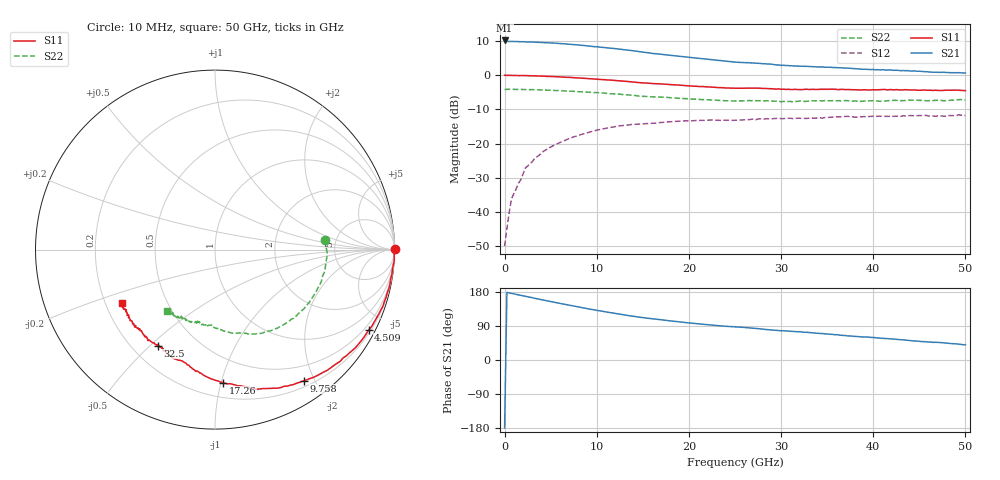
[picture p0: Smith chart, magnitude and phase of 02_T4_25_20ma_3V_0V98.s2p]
!  2-Port S-parameters saved by WinCal
! VAR MeasName=S-Parameters (CALIBRATED_DATA) read from VNA (N5245A)
! VAR MeasDate=4/1/2014 5:37:30 PM
! VAR NAME=02_T4_25_20ma_3V_0V98
! VAR FILENAME=02_T4_25_20ma_3V_0V98.s2p
! VAR DATE=4/1/2014 5:37:30 PM
! VAR PHYS_PORTS=1,2
! VAR ObjTypeName=DATASET
! VAR IndexType=Frequency
# Hz S RI R 50
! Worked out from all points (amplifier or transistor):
!   201 points, 10 MHz to 50 GHz, reference 50 ohm
!   highest |S21| = 10.2 dB at 10 MHz (marker M1)
!   |S21| within 3 dB of that: start of sweep to 13.89 GHz
!   unconditionally stable (mu >= 1): nowhere
!   at 8.258 GHz: K = 0.19, MSG = 13.1 dB, |S12| = -17.4 dB
!   at 25 GHz: K = 0.73, MSG = 8.5 dB, |S12| = -13.2 dB
!   at 50 GHz: K = 0.93, MSG = 6.2 dB, |S12| = -11.8 dB
!   S11 on the Smith chart (normalised r, x): 10 MHz: open; 4.509 GHz: 0.30, -4.05; 9.758 GHz: 0.28, -1.85; 17.26 GHz: 0.31, -1.02; 32.5 GHz: 0.30, -0.53; 50 GHz: 0.27, -0.25
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1e7  1.003 0.00256  -3.245 -0.0363  -0.00217 -0.00227  0.6121 0.0542
2.5995e8  0.9985 -0.0309  -3.156 0.0903  0.00105 0.00556  0.625 -0.0187
7.5985e8  0.9936 -0.0836  -3.136 0.232  0.000996 0.0155  0.6224 -0.048
2.25955e9  0.9595 -0.2412  -3.026 0.6533  0.00494 0.0435  0.6046 -0.1371
4.5091e9  0.8558 -0.448  -2.753 1.203  0.0272 0.0765  0.5504 -0.2547
6.5087e9  0.7318 -0.592  -2.423 1.586  0.0506 0.0983  0.4823 -0.3406
8.5083e9  0.5872 -0.6921  -2.024 1.849  0.0795 0.113  0.4049 -0.403
9.75805e9  0.4953 -0.73  -1.769 1.948  0.0964 0.119  0.3559 -0.4324
1.10078e10  0.4028 -0.7606  -1.526 2.031  0.1161 0.1205  0.3044 -0.4532
1.35073e10  0.2322 -0.7784  -1.064 2.085  0.15 0.113  0.2071 -0.4705
1.5007e10  0.1487 -0.7602  -0.8106 2.029  0.1637 0.1049  0.1615 -0.4656
1.675665e10  0.0684 -0.7477  -0.5915 1.962  0.1767 0.0991  0.1199 -0.4659
1.725655e10  0.0471 -0.7416  -0.5349 1.944  0.1807 0.097  0.1063 -0.4659
2.125575e10  -0.1016 -0.6756  -0.1481 1.754  0.2066 0.073  0.0199 -0.4411
2.5005e10  -0.1792 -0.6225  0.0683 1.562  0.2135 0.0531  -0.0244 -0.421
2.90042e10  -0.2723 -0.576  0.2778 1.43  0.2277 0.037  -0.0759 -0.4122
3.0004e10  -0.2916 -0.5513  0.3124 1.365  0.2295 0.0292  -0.0873 -0.4012
3.25035e10  -0.3198 -0.5345  0.3933 1.305  0.2325 0.0206  -0.1045 -0.4005
3.35033e10  -0.3371 -0.5247  0.4258 1.273  0.2347 0.0169  -0.1181 -0.4067
3.725255e10  -0.3957 -0.4764  0.568 1.142  0.2511 -0.00503  -0.1619 -0.3936
4.175165e10  -0.4513 -0.4211  0.6726 0.9939  0.2497 -0.0217  -0.1934 -0.3812
5e10  -0.5187 -0.2959  0.8236 0.6996  0.2483 -0.0681  -0.2699 -0.3397
